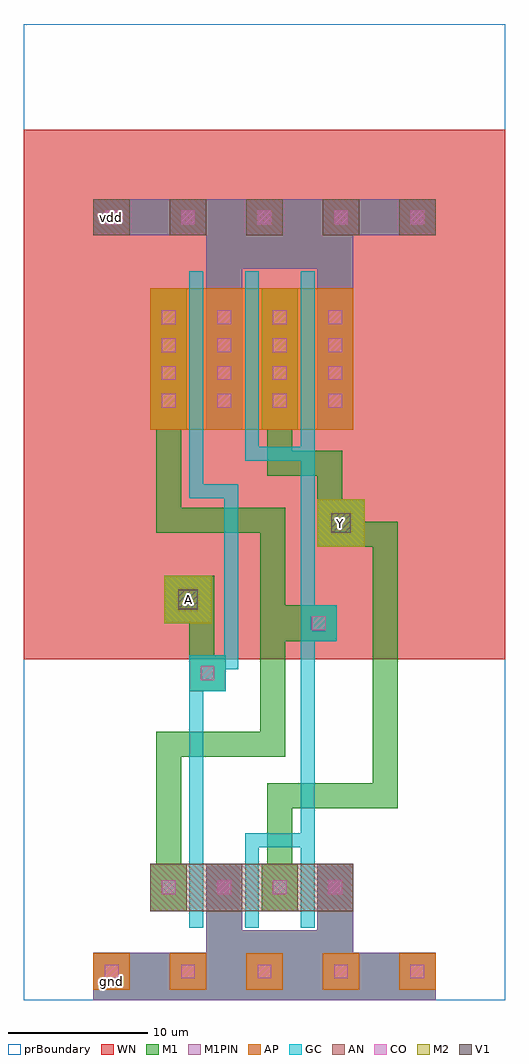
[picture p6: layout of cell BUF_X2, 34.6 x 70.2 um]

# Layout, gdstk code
import gdstk
lib = gdstk.Library(unit=1e-6, precision=1e-09)
def R(c, l, rs):  # rectangles x0, y0, x1, y1
    for r in rs: c.add(gdstk.rectangle(r[:2], r[2:], *l))
def A(c, l, x, y, w, h, nx, ny, dx, dy):  # array of equal rectangles
    R(c, l, [(x+i*dx, y+j*dy, x+i*dx+w, y+j*dy+h) for i in range(nx) for j in range(ny)])
def P(c, l, *ps):  # polygons
    for p in ps: c.add(gdstk.Polygon(p, *l))
AP = (3, 1)
AN = (3, 2)
GC = (8, 1)
CO = (11, 0)
M1 = (13, 0)
V1 = (19, 0)
M2 = (20, 0)
M1PIN = (48, 1)
WN = (140, 0)
prBoundary = (235, 4)

buf_x2 = lib.new_cell('BUF_X2')
A(buf_x2, AP, 5, 0.75, 2.6, 2.6, 5, 1, 5.5, 0)
R(buf_x2, AP, [(9.1,41,23.7,51.2)])
A(buf_x2, AN, 5, 55, 2.6, 2.6, 5, 1, 5.5, 0)
R(buf_x2, AN, [(9.1,6.4,23.7,9.8)])
P(buf_x2, GC, [(11.9,5.2),(11.9,24.8),(14.4,24.8),(14.4,36.1),(11.9,36.1),(11.9,52.4),(12.9,52.4),(12.9,37.1),(15.4,37.1),(15.4,23.8),(14.5,23.8),(14.5,22.2),(12.9,22.2),(12.9,5.2)],
  [(15.9,5.2),(15.9,12),(19.9,12),(19.9,38.8),(15.9,38.8),(15.9,52.4),(16.9,52.4),(16.9,39.8),(19.9,39.8),(19.9,52.4),(20.9,52.4),(20.9,28.4),(22.5,28.4),(22.5,25.8),(20.9,25.8),(20.9,5.2),(19.9,5.2),(19.9,11),(16.9,11),(16.9,5.2)])
A(buf_x2, CO, 5.8, 1.55, 1, 1, 5, 2, 5.5, 54.25)
A(buf_x2, CO, 13.9, 7.6, 1, 1, 3, 2, 4, 35)
A(buf_x2, CO, 9.9, 42.6, 1, 1, 1, 4, 0, 2)
A(buf_x2, CO, 13.9, 42.6, 1, 1, 1, 4, 0, 2)
A(buf_x2, CO, 13.9, 44.6, 1, 1, 3, 3, 4, 2)
R(buf_x2, CO, [(9.9,7.6,10.9,8.6), (13.9,7.6,14.9,8.6), (12.7,23,13.7,24), (20.7,26.6,21.7,27.6)])
R(buf_x2, M1, [(5,2.6,13.1,3.4), (23.7,2.6,29.6,3.4)])
P(buf_x2, M1, [(5,0),(5,2.6),(13.1,2.6),(13.1,9.8),(15.7,9.8),(15.7,5),(21.1,5),(21.1,9.8),(23.7,9.8),(23.7,2.6),(29.6,2.6),(29.6,0)],
  [(11.9,22.2),(11.9,27.1),(10.1,27.1),(10.1,30.5),(13.7,30.5),(13.7,24.8),(14.5,24.8),(14.5,22.2)],
  [(9.1,6.4),(9.1,9.8),(9.5,9.8),(9.5,19.3),(17,19.3),(17,33.6),(9.5,33.6),(9.5,41),(9.1,41),(9.1,51.2),(11.7,51.2),(11.7,41),(11.3,41),(11.3,35.4),(18.8,35.4),(18.8,28.4),(22.5,28.4),(22.5,25.8),(18.8,25.8),(18.8,17.5),(11.3,17.5),(11.3,9.8),(11.7,9.8),(11.7,6.4)],
  [(17.1,6.4),(17.1,9.8),(17.5,9.8),(17.5,15.6),(25.1,15.6),(25.1,32.6),(21.1,32.6),(21.1,37.7),(17.5,37.7),(17.5,41),(17.1,41),(17.1,51.2),(19.7,51.2),(19.7,41),(19.3,41),(19.3,39.5),(22.9,39.5),(22.9,36),(24.5,36),(24.5,34.4),(26.9,34.4),(26.9,13.8),(19.3,13.8),(19.3,9.8),(19.7,9.8),(19.7,6.4)],
  [(13.1,41),(13.1,55),(5,55),(5,57.6),(29.6,57.6),(29.6,55),(23.7,55),(23.7,41),(21.1,41),(21.1,52.6),(15.7,52.6),(15.7,41)])
R(buf_x2, V1, [(11.1,28.1,12.5,29.5), (22.1,33.6,23.5,35)])
R(buf_x2, M2, [(10.1,27.1,13.5,30.5), (21.1,32.6,24.5,36)])
R(buf_x2, M1PIN, [(5,0,29.6,3.4), (13.1,3.4,23.7,5), (13.1,5,15.7,9.8), (21.1,5,23.7,9.8), (13.1,41,15.7,52.6), (21.1,41,23.7,52.6), (13.1,52.6,23.7,55), (5,55,29.6,57.6)])
R(buf_x2, WN, [(0,24.5,34.6,62.6)])
R(buf_x2, prBoundary, [(0,0,34.6,70.2)])
buf_x2.add(gdstk.Label('A', (11.8,28.8), layer=49, texttype=0))
buf_x2.add(gdstk.Label('Y', (22.8,34.3), layer=49, texttype=0))
buf_x2.add(gdstk.Label('Y', (22.8,34.3), layer=48, texttype=0))
buf_x2.add(gdstk.Label('A', (11.8,28.8), layer=48, texttype=0))
buf_x2.add(gdstk.Label('vdd', (6.3,56.3), layer=48, texttype=0))
buf_x2.add(gdstk.Label('gnd', (6.3,1.3), layer=48, texttype=0))

lib.write_gds('BUF_X2.gds')
